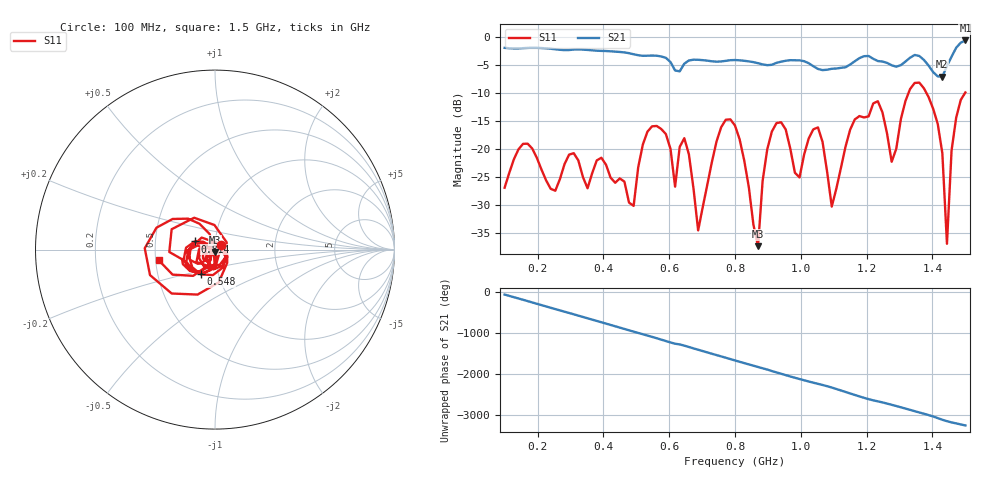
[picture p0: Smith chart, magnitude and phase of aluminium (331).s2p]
! NanoVNA-App
! Date: 2025-09-25 14:57:51
! Start: 100MHz Stop: 1,5GHz Points: 101
! S-Parameter data: F S11 S21 S12 S22
# Hz S RI R 50
!  Frequency  S11_Real  S11_Imag  S21_Real  S21_Imag  S12_Real  S12_Imag  S22_Real  S22_Imag
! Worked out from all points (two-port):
!   101 points, 100 MHz to 1.5 GHz, reference 50 ohm
!   highest |S21| = -0.60 dB at 1.5 GHz (marker M1); lowest = -7.1 dB at 1.43 GHz (marker M2)
!   |S21| within 3 dB of the highest: start of sweep to 583.7 MHz; 1.457 GHz to end of sweep (the widest 2 of 4)
!   lowest |S11| = -37.4 dB at 870 MHz (marker M3), VSWR 1.03, Z = 49.9 - j1.34 ohm
!   |S11| at or under -10 dB: start of sweep to 1.327 GHz; 1.382 GHz to 1.499 GHz (117.4 MHz wide, 8.15 % of centre)
!   S12 and S22 are empty: the file has one direction only
!   S11 on the Smith chart (normalised r, x): 100 MHz: 1.07, +0.06; 548 MHz: 0.82, -0.23; 814 MHz: 0.79, +0.07; 1.5 GHz: 0.52, -0.07
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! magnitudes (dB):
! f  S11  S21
! 100 MHz  -27.0  -1.9
! 338 MHz  -25.0  -2.2
! 492 MHz  -30.2  -3.1
! 548 MHz  -16.0  -3.3
! 576 MHz  -16.5  -3.5
! 618 MHz  -26.8  -6.0
! 646 MHz  -18.1  -4.7
! 688 MHz  -34.6  -4.1
! 800 MHz  -15.8  -4.1
! 814 MHz  -18.3  -4.2
! 870 MHz  -37.4  -4.7
! 912 MHz  -16.9  -5.0
! 996 MHz  -25.1  -4.2
! 1.038 GHz  -16.5  -5.2
! 1.094 GHz  -30.3  -5.7
! 1.22 GHz  -11.9  -3.9
! 1.276 GHz  -22.3  -5.0
! 1.346 GHz  -8.2  -3.2
! 1.43 GHz  -20.8  -7.1
! 1.444 GHz  -37.0  -5.2
! 1.458 GHz  -20.3  -3.5
! 1.5 GHz  -9.9  -0.6
